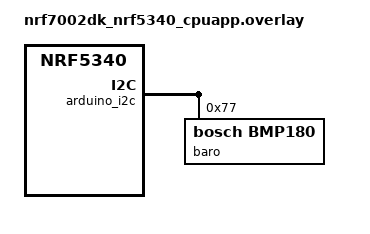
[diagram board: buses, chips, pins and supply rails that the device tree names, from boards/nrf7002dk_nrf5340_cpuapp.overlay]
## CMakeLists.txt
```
# SPDX-FileCopyrightText: 2026 The MCUHome Contributors
# SPDX-License-Identifier: Apache-2.0
#
# MCUHome Matter sample node (ADR 0006 / ADR 0014): upstream CHIP
# v1.5.1.0 as Zephyr module on vanilla Zephyr v4.4.0, nRF7002-DK, two
# runtime-registered endpoints (temperature + pressure, BMP180).
#
# The Matter build glue below — the CHIP_ROOT block, the link-order fix,
# the app-common include and the chip_configure_data_model() call — is
# byte-identical to what `mcuhome build` emits, and tests_py/
# test_generate.py asserts that it stays so. This sample IS a generated
# device (ADR 0014 makes its src/mcuhome_config.{c,h} the codegen
# fixture), so a build mechanism found on the bench must never end up in
# only one of the two files. What legitimately differs is the application
# glue: the sample keeps its own src/main.c, which drives this board's
# LEDs, where a generated application uses the framework's generic main.

cmake_minimum_required(VERSION 3.20.0)

# Matter (CHIP) is a Zephyr module the application registers, not one west
# discovers: upstream connectedhomeip has no zephyr/module.yml at its root,
# only the chip-module subdirectory below. It therefore has to be appended
# to ZEPHYR_EXTRA_MODULES before find_package(Zephyr).
#
# CHIP_ROOT is searched for rather than written out, so this file names no
# path belonging to the machine that generated it and keeps working
# wherever the build tree is moved. What it looks for is the west T2
# workspace layout MCUHome pins (west.yml). Three ways, in order:
#
#   1. -DCHIP_ROOT=... or the CHIP_ROOT environment variable — say it.
#   2. next to ZEPHYR_BASE, when the environment has it. `west build` does
#      NOT export ZEPHYR_BASE, so this is the path for environments that
#      set it deliberately (the MCUHome builder is one).
#   3. upwards from this file, for the normal case of a build directory
#      inside the workspace it is built in.
if(NOT DEFINED CHIP_ROOT)
    if(DEFINED ENV{CHIP_ROOT})
        set(CHIP_ROOT $ENV{CHIP_ROOT})
    elseif(DEFINED ENV{ZEPHYR_BASE})
        get_filename_component(CHIP_ROOT
            "$ENV{ZEPHYR_BASE}/../modules/lib/connectedhomeip" REALPATH)
    else()
        set(_mcuhome_search ${CMAKE_CURRENT_SOURCE_DIR})
        while(NOT DEFINED CHIP_ROOT)
            if(EXISTS "${_mcuhome_search}/modules/lib/connectedhomeip")
                set(CHIP_ROOT "${_mcuhome_search}/modules/lib/connectedhomeip")
            endif()
            get_filename_component(_parent ${_mcuhome_search} DIRECTORY)
            if(_parent STREQUAL _mcuhome_search)
                break()
            endif()
            set(_mcuhome_search ${_parent})
        endwhile()
        unset(_mcuhome_search)
        unset(_parent)
    endif()
endif()

if(NOT EXISTS "${CHIP_ROOT}/config/zephyr/chip-module")
    message(FATAL_ERROR
        "The Matter SDK (connectedhomeip) was not found.\n"
        "Looked for a west workspace containing modules/lib/connectedhomeip, "
        "starting at ${CMAKE_CURRENT_SOURCE_DIR}; CHIP_ROOT resolved to "
        "'${CHIP_ROOT}'.\n"
        "The SDK is in the optional west group `matter`, so a workspace that "
        "was never updated with it has no copy:\n"
        "  west config manifest.group-filter +matter && west update\n"
        "If it lives somewhere else entirely, say so: -DCHIP_ROOT=<path>")
endif()

list(APPEND ZEPHYR_EXTRA_MODULES ${CHIP_ROOT}/config/zephyr/chip-module)

# ccache for the Matter half of the build as well (builder-pipeline.md §5:
# ccache is a hard requirement of the builder, not an optimization).
# Zephyr finds ccache by itself and sets the global RULE_LAUNCH_COMPILE
# property, but CHIP's inner GN build is a second build system that never
# sees it — without the two lines below, every clean build directory
# recompiles the whole Matter stack from source.
#
# Pigweed's toolchain templates take a compiler launcher as the GN
# argument `pw_command_launcher` (third_party/pigweed/repo/pw_toolchain/
# toolchain_args.gni), and CHIP's chip_gn_args.cmake appends to
# MATTER_GN_ARGS instead of resetting it when it is already set. So
# pre-seeding that variable here — before find_package(Zephyr) brings the
# chip-module in — is the whole mechanism, with no patch to the SDK. The
# `\n`-separated form is the response-file syntax make_gn_args.py reads;
# it must not contain a semicolon, which CMake would turn into a list.
#
# USE_CCACHE=0 is Zephyr's own opt-out and switches off both halves.
if(NOT USE_CCACHE STREQUAL "0")
    find_program(MCUHOME_CCACHE ccache)
    if(MCUHOME_CCACHE)
        set(MATTER_GN_ARGS "--arg-string\npw_command_launcher\nccache\n")
    endif()
endif()

find_package(Zephyr REQUIRED HINTS $ENV{ZEPHYR_BASE})
project(mcuhome-matter-node)

include(${CHIP_ROOT}/src/app/chip_data_model.cmake)

# Link-order fix: the Matter libraries form their own --start/end-group,
# placed after libkernel.a in the final link line, so k_msgq_* references
# from libCHIP.a stay unresolved. Appending the kernel as a *file path*
# (not the target — CMake would dedupe that against the earlier
# occurrence) puts it after the group.
target_link_libraries(chip INTERFACE $<TARGET_FILE:kernel>)

target_include_directories(app PRIVATE
    ${CHIP_ROOT}/zzz_generated/app-common)

# Application glue (plain C — no CHIP headers) plus the generated device
# configuration (ADR 0014), which `mcuhome build` produces from
# docs/design/examples/00-bmp180-two-endpoints.yaml and the builder test
# suite compares byte for byte. The Matter runtime itself lives in the
# framework component, not here.
target_sources(app PRIVATE
    src/main.c
    src/mcuhome_config.c)

# Framework-owned data model: endpoint 0 (root node) only — every device
# endpoint is registered at runtime (ADR 0014, native composed node).
# ZCL_PATH must be passed explicitly: the zcl.json path stored inside the
# .zap is relative to CHIP's own example directories, so it cannot resolve
# for a .zap that lives outside the CHIP tree (documented escape hatch in
# chip_data_model.cmake). The .matter IDL is inferred from the .zap name.
chip_configure_data_model(app
    ZAP_FILE ${ZEPHYR_MCUHOME_MODULE_DIR}/components/matter/zap/mcuhome-root.zap
    ZCL_PATH ${CHIP_ROOT}/src/app/zap-templates/zcl/zcl.json
)
```

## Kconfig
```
# SPDX-FileCopyrightText: 2026 The MCUHome Contributors
# SPDX-License-Identifier: Apache-2.0

config MCUHOME_ALLOW_INSECURE_ENTROPY
	bool "I understand this build has NO secure randomness (DEVELOPMENT ONLY)"
	help
	  Explicit opt-in gate for the insecure prototype PRNG. Never set
	  this outside local development: all keys the device generates
	  (commissioning sessions, SRP signatures) become predictable.

config MCUHOME_PROTO_ENTROPY
	bool "Insecure prototype entropy driver (nRF5340 appcore experiment)"
	default y if DT_HAS_MCUHOME_PROTO_ENTROPY_ENABLED
	depends on ENTROPY_GENERATOR
	depends on MCUHOME_ALLOW_INSECURE_ENTROPY
	select ENTROPY_HAS_DRIVER

config MCUHOME_PROTO_PSA_WANTS
	bool
	default y if MBEDTLS
	# The PSA_WANT_* symbols are promptless while MBEDTLS_PROMPTLESS is
	# active — plain prj.conf assignments are silently dropped. An app
	# Kconfig `select` is the supported way to force them on. CHIP needs
	# HKDF (SPAKE2+ key derivation — missing it kills PASE with a silent
	# INTERNAL after the point math), ECDH (CASE), SHA-1 (certificates)
	# and PBKDF2 (PASE prover side).
	select PSA_WANT_ALG_HKDF
	select PSA_WANT_ALG_ECDH
	select PSA_WANT_ALG_SHA_1
	select PSA_WANT_ALG_PBKDF2_HMAC
	select PSA_WANT_KEY_TYPE_DERIVE
	select PSA_WANT_KEY_TYPE_HMAC

source "Kconfig.zephyr"
```

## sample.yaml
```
# SPDX-FileCopyrightText: 2026 The MCUHome Contributors
# SPDX-License-Identifier: Apache-2.0

sample:
  name: MCUHome Matter node sample
  description: >
    Matter node on vanilla Zephyr with two runtime-registered endpoints
    (temperature EP1, pressure EP2, fed by a BMP180), exercising the
    MCUHome generated-tables contract against upstream CHIP.
common:
  tags:
    - matter
    - mcuhome
tests:
  sample.mcuhome.matter_node:
    build_only: true
    # The Matter runtime values (heap/stack sizing, mbedTLS acceleration,
    # picolibc) and the RTT log transport come from the framework snippets,
    # not from prj.conf — twister must apply them like a manual build does.
    extra_args:
      - SNIPPET="matter;debug-rtt"
    # One board, deliberately: src/mcuhome_config.c is generator output for
    # exactly this device configuration, and generated tables reference the
    # sensor's devicetree node directly. A board without that node cannot
    # compile them — and a generated device configuration is never built for
    # a board it was not generated for.
    platform_allow:
      - nrf7002dk/nrf5340/cpuapp
```

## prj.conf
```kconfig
# SPDX-FileCopyrightText: 2026 The MCUHome Contributors
# SPDX-License-Identifier: Apache-2.0
#
# ============================================================================
# BUILD THIS SAMPLE WITH:  -S matter -S debug-rtt
#
#   west build -p -b nrf7002dk/nrf5340/cpuapp -S matter -S debug-rtt \
#       mcuhome/samples/matter-node
#
# The snippets carry the numeric/choice values the Matter stack needs (heap
# and stack sizing, mbedTLS acceleration, libc choice) and the RTT log
# transport. Building WITHOUT them is refused at CMake configure time by
# components/matter/CMakeLists.txt (with BUILD_ASSERTs in
# components/matter/src/matter_init.cpp as the backstop) — without that
# guard the image compiles fine and dies at runtime, pre-main or during
# PASE, with no console to say why.
# ============================================================================

# MCUHome framework: components/matter/Kconfig owns the Matter wiring
# (PSA_WANT_* selects, NET_CONTEXT_RECV_PKTINFO, OPENTHREAD_SLAAC, the
# PICOLIBC dependency and the Thread role choice), so none of that is
# repeated here.
CONFIG_MCUHOME=y
CONFIG_MCUHOME_MATTER=y

# The health foundation (lib/health/: reboot on fatal error, hardware
# watchdog, crash breadcrumb, image self-confirmation). Stated rather than
# left to the Kconfig defaults, for the same reason the generated
# prj.conf states it (mcuhome/generate.py): ADR 0015's health amendment
# makes these mandatory for every application image, and a guarantee that
# rests on an unstated default is one board defconfig away from silently
# disappearing. The watchdog needs the watchdog0 alias, which the board
# overlay next to this file adds.
CONFIG_MCUHOME_HEALTH=y
CONFIG_MCUHOME_RESET_ON_FATAL_ERROR=y
CONFIG_MCUHOME_WATCHDOG=y
CONFIG_MCUHOME_CRASH_BREADCRUMB=y
#
# Matter OTA is deliberately NOT enabled. This sample is built as a single
# image without MCUboot, so it has no partition table and no staging slot
# to download into; enabling CONFIG_MCUHOME_MATTER_OTA here would fail the
# build on a missing slot1_partition, correctly. Over-the-air update is a
# property of the board's update scheme in mcuhome/registry.py and appears
# in applications the builder generates (ADR 0015 decision 5), which are
# sysbuild builds with a bootloader.

# Channel layer: the generic sensor adapter that feeds both endpoints.
# The chip driver itself is not enabled here — CONFIG_BMP180 defaults to y
# from the devicetree node in the board overlay, which is the rule the
# builder will follow too (hardware in DTS, never in Kconfig).
CONFIG_SENSOR=y
CONFIG_MCUHOME_SENSOR=y

CONFIG_CHIP=y
CONFIG_STD_CPP17=y

# Test vendor/product identity (Matter test VID space)
CONFIG_CHIP_DEVICE_PRODUCT_ID=32768

# Open the commissioning window automatically on boot
CONFIG_CHIP_ENABLE_PAIRING_AUTOSTART=y

# Thread
CONFIG_NET_L2_OPENTHREAD=y

# Crypto: mbedTLS 4 provides the PSA API (tf-psa-crypto core)
CONFIG_MBEDTLS=y
CONFIG_MBEDTLS_PSA_CRYPTO_C=y

# Project config: dynamic endpoint slots (see include/CHIPProjectConfig.h)
CONFIG_CHIP_PROJECT_CONFIG="include/CHIPProjectConfig.h"
```

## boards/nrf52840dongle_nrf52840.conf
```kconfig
# SPDX-FileCopyrightText: 2026 The MCUHome Contributors
# SPDX-License-Identifier: Apache-2.0
#
# Dongle (nRF52840): Thread-only per ADR 0011 (BLE off in v0.1).
# No console — the CDC-ACM console blocks printk without an attached
# host terminal (upstream bug candidate Z5); status via LEDs.

CONFIG_BT=n

CONFIG_CONSOLE=n
CONFIG_UART_CONSOLE=n
# NOTE: the debug-rtt snippet (applied by sample.yaml and the documented
# build command) merges after board files and turns logging back on, over
# RTT instead of CDC-ACM. Build without `-S debug-rtt` to get the silent
# LED-only image this line describes.
CONFIG_LOG=n
```

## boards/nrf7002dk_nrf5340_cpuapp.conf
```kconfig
# SPDX-FileCopyrightText: 2026 The MCUHome Contributors
# SPDX-License-Identifier: Apache-2.0
#
# nRF7002-DK (nRF5340 app core), Thread-only coexistence experiment:
# BLE deliberately OFF — vanilla Zephyr has no combined BLE+802.15.4
# netcore image (no MPSL); the net core runs 802154_rpmsg.
#
# The RTT log transport and the nRF53 802.15.4 workqueue sizing are NOT
# here: they come from the snippets this sample is built with
# (`-S debug-rtt` and `-S matter`, see prj.conf). Only board-scoped
# decisions remain below.
#
# (The interactive shell-over-RTT was dropped: under OpenThread log load
# its RX event delivery wedges — the thread never leaves k_event_wait
# despite the raised transport event. The Thread dataset is persisted in
# flash, so runtime CLI access is no longer needed for the E2E test.)

CONFIG_BT=n

# Entropy: the app core has no RNG peripheral, so it seeds a CTR-DRBG
# from the network core's over IPC (drivers/entropy/, board overlay picks
# the node). CONFIG_MCUHOME_ENTROPY_IPC follows from the devicetree node
# — hardware in DTS, never in Kconfig — and the driver pulls in
# CONFIG_MBEDTLS_CTR_DRBG_C itself. Only the subsystem switch is needed
# here.
#
# The network core must run mcuhome/samples/netcore-radio: the upstream
# 802154_rpmsg image has the radio server but not the entropy service,
# and a node built against it never gets seeded (loud -EIO, no silent
# downgrade — see snippets/matter/matter.conf).
CONFIG_ENTROPY_GENERATOR=y
```

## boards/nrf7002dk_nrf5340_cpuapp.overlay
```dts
/*
 * SPDX-FileCopyrightText: 2026 The MCUHome Contributors
 * SPDX-License-Identifier: Apache-2.0
 */

/* Entropy: the nRF5340 application core has no RNG peripheral. The board
 * default points `zephyr,entropy` at the Bluetooth HCI entropy driver
 * (`&rng_hci`, see dts/arm/nordic/nrf5340_cpuapp.dtsi), which is dead
 * weight here — this node is Thread-only and Bluetooth is off (ADR
 * 0011). Redirect to the IPC driver, which seeds a CTR-DRBG from the
 * network core's real RNG over a second endpoint on `ipc0` — the same
 * instance the 802.15.4 spinel channel already uses. The network core
 * must run mcuhome/samples/netcore-radio for this to bind.
 */
/ {
	netcore_entropy: netcore-entropy {
		compatible = "mcuhome,entropy-ipc";
		ipc = <&ipc0>;
		status = "okay";
	};

	chosen {
		zephyr,entropy = &netcore_entropy;
	};

	/* Watchdog: ADR 0015's health amendment makes one mandatory for every
	 * application image, and lib/health/ finds it through the watchdog0
	 * alias — the Zephyr convention, which this board's own devicetree
	 * does not define even though the SoC has the peripheral. Board
	 * wiring, exactly like the entropy redirection above, and exactly
	 * what mcuhome/registry.py emits into a generated application's
	 * overlay. Without it the build stops and names the alias.
	 */
	aliases {
		watchdog0 = &wdt0;
	};
};

/* Bosch BMP180 on the DK's Arduino-header I2C bus.
 *
 * The node label is `baro`, not `bmp180`, because that is the peripheral's
 * name in the device configuration this sample mirrors
 * (docs/design/examples/00-bmp180-two-endpoints.yaml, hardware.peripherals)
 * and therefore the label the generated tables reference. This block is
 * exactly what the builder's overlay generator emits; the entropy node
 * above is board wiring the generator does not own.
 *
 * `arduino_i2c` is the board's own label for i2c1
 * (zephyr/boards/nordic/nrf7002dk/nrf5340_cpuapp_common.dtsi); the
 * i2c1_default pinctrl group puts TWIM_SDA on P1.02 and TWIM_SCL on P1.03,
 * which the board's arduino_header gpio-map exposes as D14 and D15 — the
 * dedicated SDA/SCL pins of the Arduino UNO R3 shield header. A4/A5 are
 * NOT on this bus on the nRF7002-DK: they map to P0.25/P0.26 and are plain
 * GPIO/ADC inputs. The physical wiring is spelled out in the sample README.
 *
 * The BMP180's I2C address is fixed at 0x77 in silicon — the chip has no
 * address-select pin, so this is the only possible reg value.
 *
 * osr-press = 1 ("standard", 2 samples, ~7.5 ms conversion). The datasheet
 * quotes ~0.06 hPa RMS noise even in ultra-low-power mode, an order of
 * magnitude below this endpoint's 1 hPa quantization, so the higher
 * oversampling modes would buy resolution the Matter attribute cannot
 * carry and pay for it in conversion time — which on a sleepy end device
 * is radio-off time spent awake.
 */
&arduino_i2c {
	status = "okay";

	baro: baro@77 {
		compatible = "bosch,bmp180";
		reg = <0x77>;
		osr-press = <1>;
		status = "okay";
	};
};
```

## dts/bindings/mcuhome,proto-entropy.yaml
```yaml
# SPDX-FileCopyrightText: 2026 The MCUHome Contributors
# SPDX-License-Identifier: Apache-2.0

description: |
  INSECURE prototype entropy source (PRNG, not a TRNG). Exists only to
  unblock the Matter-on-vanilla-Zephyr boot experiment on the nRF5340
  application core, which has no upstream entropy driver.

compatible: "mcuhome,proto-entropy"

include: base.yaml
```

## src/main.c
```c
/*
 * SPDX-FileCopyrightText: 2026 The MCUHome Contributors
 * SPDX-License-Identifier: Apache-2.0
 *
 * MCUHome Matter sample node: application glue, and nothing else.
 *
 * Note what is NOT here: no CHIP header, no ember macro, no external
 * attribute callback, no stack lock, no value-producing loop — and, since
 * the builder generates this device's configuration, no tables either. The
 * device's Matter model and its sensor wiring are data
 * (src/mcuhome_config.c, generated from
 * docs/design/examples/00-bmp180-two-endpoints.yaml), the runtime is the
 * framework (components/matter, components/sensor). What remains below is
 * the LED status this board needs because it has no attached console, plus
 * three calls.
 *
 * Everything after mcuhome_matter_start() is event-driven — the sensor
 * poller owns its own workqueue, the heartbeat is a kernel timer — so
 * main() has nothing left to do and returns.
 */

#include <zephyr/devicetree.h>
#include <zephyr/drivers/gpio.h>
#include <zephyr/kernel.h>

#include <mcuhome/channel.h>
#include <mcuhome/matter.h>

#include "mcuhome_config.h"

/* LED status — the RTT log is not always attached, and a board without a
 * console has nothing else: green solid = initializing, green slow blink =
 * fully up, red pulse = stage boundary, red fast blink = a stage failed. */
static const struct gpio_dt_spec led_green = GPIO_DT_SPEC_GET(DT_ALIAS(led0), gpios);
static const struct gpio_dt_spec led_red = GPIO_DT_SPEC_GET(DT_ALIAS(led1), gpios);

/* Heartbeat. A kernel timer rather than a loop in main(): toggling a GPIO
 * is a single register write and safe from the timer ISR, and it keeps the
 * "nothing polls anything from a thread" property this file has. */
static void heartbeat_expiry(struct k_timer *timer)
{
	ARG_UNUSED(timer);
	gpio_pin_toggle_dt(&led_green);
}

static K_TIMER_DEFINE(heartbeat, heartbeat_expiry, NULL);

/* Override of the framework's weak default hook. Kept from the bring-up
 * era: it is the only diagnostic a board without a console has. */
void mcuhome_matter_stage(const char *name, int err)
{
	if (err == 0) {
		printk("mcuhome: stage %s OK\n", name);
		gpio_pin_set_dt(&led_red, 1);
		k_sleep(K_MSEC(80));
		gpio_pin_set_dt(&led_red, 0);
		return;
	}

	printk("mcuhome: stage %s FAILED (%d)\n", name, err);
	for (int i = 0; i < 10; i++) {
		gpio_pin_toggle_dt(&led_red);
		k_sleep(K_MSEC(100));
	}
	gpio_pin_set_dt(&led_red, 0);
}

int main(void)
{
	int err;

	gpio_pin_configure_dt(&led_green, GPIO_OUTPUT_INACTIVE);
	gpio_pin_configure_dt(&led_red, GPIO_OUTPUT_INACTIVE);
	gpio_pin_set_dt(&led_green, 1); /* solid green: initializing */

	printk("mcuhome: boot, matter-node sample\n");

	err = mcuhome_matter_start(&mcuhome_node_config);
	if (err != 0) {
		printk("mcuhome: Matter bring-up failed: %d\n", err);
		return err;
	}

	/* After Matter, never before: the first sample may publish
	 * immediately and the reporting path has to exist by then. */
	err = mcuhome_sensor_start(mcuhome_sensor_bindings, mcuhome_sensor_binding_count);
	mcuhome_matter_stage("SensorStart", err);
	if (err != 0) {
		/* A malformed binding table or a binding/table ID mismatch
		 * (mcuhome_matter_attr_store_lookup(), <mcuhome/channel.h>) —
		 * not a missing sensor, which the poller handles internally
		 * and reports as null. Visible (LED + log) but not fatal: the
		 * node must stay commissionable even with broken sensor
		 * wiring, so its endpoints simply keep reporting null. */
		printk("mcuhome: sensor channels failed to start: %d\n", err);
	}

	k_timer_start(&heartbeat, K_SECONDS(1), K_SECONDS(1)); /* slow blink: fully up */

	printk("mcuhome: up - endpoints 1 (temperature) and 2 (pressure) live\n");

	return 0;
}
```

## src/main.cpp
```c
/*
 * SPDX-FileCopyrightText: 2026 The MCUHome Contributors
 * SPDX-License-Identifier: Apache-2.0
 *
 * MCUHome Matter sample node: minimal Matter node on vanilla Zephyr with ONE
 * dynamically registered temperature endpoint fed from a simulated sensor.
 * Evaluates the dynamic-endpoint path (builder-pipeline design §4) with
 * upstream CHIP on nRF7002-DK.
 */

#include <zephyr/drivers/gpio.h>
#include <zephyr/kernel.h>

#include <app-common/zap-generated/ids/Attributes.h>
#include <app-common/zap-generated/ids/Clusters.h>
#include <app/reporting/reporting.h>
#include <app/server/Dnssd.h>
#include <app/server/Server.h>
#include <app/util/attribute-storage.h>
#include <credentials/DeviceAttestationCredsProvider.h>
#include <credentials/examples/DeviceAttestationCredsExample.h>
#include <data-model-providers/codegen/Instance.h>
#include <lib/core/CHIPError.h>
#include <lib/support/CHIPMem.h>
#include <lib/support/Span.h>
#include <platform/CHIPDeviceLayer.h>

using namespace chip;
using namespace chip::app;
using namespace chip::app::Clusters;
using chip::Protocols::InteractionModel::Status;

/* MCUHome devices are native composed nodes, not bridges (ADR 0014): the
 * framework ZAP (components/matter/zap/mcuhome-root.zap) defines endpoint 0
 * — the root node — and nothing else. Every application endpoint is created
 * at runtime with emberAfSetDynamicEndpoint(), starting at EP1 directly
 * under the root; there is no static aggregator endpoint.
 *
 * A statically compiled endpoint would collide with the IDs the dynamic
 * allocator hands out and show up to controllers as a device the user never
 * configured. Fail the build, not the commissioning, if the ZAP ever grows
 * one. (FIXED_ENDPOINT_COUNT comes from the generated
 * zap-generated/endpoint_config.h, pulled in by app/util/attribute-storage.h
 * above — no fragile include path needed.) */
static_assert(FIXED_ENDPOINT_COUNT == 1,
              "The MCUHome framework ZAP must define endpoint 0 only — "
              "static endpoints collide with dynamically registered ones");

namespace {

constexpr int kDescriptorAttributeArraySize = 254;
constexpr uint16_t kTempSensorDeviceTypeId  = 0x0302; /* Matter Temperature Sensor */
constexpr uint8_t kDeviceVersionDefault     = 1;
/* EP0 (root node) is the only static endpoint; EP1 is the first dynamic one. */
constexpr EndpointId kTempEndpointId = 1;

int16_t gSimulatedTempCentiC = 2150; /* 21.50 °C, Matter unit: 0.01 °C */

/* LED status (dongle has no visible console): green solid = initializing,
 * red fast blink = a stage failed, green slow blink = fully up. */
const gpio_dt_spec gLedGreen = GPIO_DT_SPEC_GET(DT_ALIAS(led0), gpios);
const gpio_dt_spec gLedRed   = GPIO_DT_SPEC_GET(DT_ALIAS(led1), gpios);

/* --- Temperature Measurement cluster attributes (external storage) --- */
DECLARE_DYNAMIC_ATTRIBUTE_LIST_BEGIN(tempAttrs)
DECLARE_DYNAMIC_ATTRIBUTE(TemperatureMeasurement::Attributes::MeasuredValue::Id, INT16S, 2, 0),
    DECLARE_DYNAMIC_ATTRIBUTE(TemperatureMeasurement::Attributes::MinMeasuredValue::Id, INT16S, 2, 0),
    DECLARE_DYNAMIC_ATTRIBUTE(TemperatureMeasurement::Attributes::MaxMeasuredValue::Id, INT16S, 2, 0),
    DECLARE_DYNAMIC_ATTRIBUTE_LIST_END();

/* --- Descriptor cluster attributes --- */
DECLARE_DYNAMIC_ATTRIBUTE_LIST_BEGIN(descriptorAttrs)
DECLARE_DYNAMIC_ATTRIBUTE(Descriptor::Attributes::DeviceTypeList::Id, ARRAY, kDescriptorAttributeArraySize, 0),
    DECLARE_DYNAMIC_ATTRIBUTE(Descriptor::Attributes::ServerList::Id, ARRAY, kDescriptorAttributeArraySize, 0),
    DECLARE_DYNAMIC_ATTRIBUTE(Descriptor::Attributes::ClientList::Id, ARRAY, kDescriptorAttributeArraySize, 0),
    DECLARE_DYNAMIC_ATTRIBUTE(Descriptor::Attributes::PartsList::Id, ARRAY, kDescriptorAttributeArraySize, 0),
    DECLARE_DYNAMIC_ATTRIBUTE_LIST_END();

DECLARE_DYNAMIC_CLUSTER_LIST_BEGIN(tempSensorClusters)
DECLARE_DYNAMIC_CLUSTER(TemperatureMeasurement::Id, tempAttrs, ZAP_CLUSTER_MASK(SERVER), nullptr, nullptr),
    DECLARE_DYNAMIC_CLUSTER(Descriptor::Id, descriptorAttrs, ZAP_CLUSTER_MASK(SERVER), nullptr, nullptr)
        DECLARE_DYNAMIC_CLUSTER_LIST_END;

DECLARE_DYNAMIC_ENDPOINT(tempSensorEndpoint, tempSensorClusters);

DataVersion gTempDataVersions[MATTER_ARRAY_SIZE(tempSensorClusters)];

const EmberAfDeviceType gTempDeviceTypes[] = { { kTempSensorDeviceTypeId, kDeviceVersionDefault } };

} /* namespace */

/* Read handler for externally stored dynamic attributes. */
Status emberAfExternalAttributeReadCallback(EndpointId endpoint, ClusterId clusterId,
                                            const EmberAfAttributeMetadata * attributeMetadata, uint8_t * buffer,
                                            uint16_t maxReadLength)
{
    if (endpoint == kTempEndpointId && clusterId == TemperatureMeasurement::Id && maxReadLength >= 2)
    {
        int16_t value = 0;
        switch (attributeMetadata->attributeId)
        {
        case TemperatureMeasurement::Attributes::MeasuredValue::Id:
            value = gSimulatedTempCentiC;
            break;
        case TemperatureMeasurement::Attributes::MinMeasuredValue::Id:
            value = -4000;
            break;
        case TemperatureMeasurement::Attributes::MaxMeasuredValue::Id:
            value = 12500;
            break;
        default:
            return Status::Failure;
        }
        memcpy(buffer, &value, sizeof(value));
        return Status::Success;
    }
    return Status::Failure;
}

Status emberAfExternalAttributeWriteCallback(EndpointId endpoint, ClusterId clusterId,
                                             const EmberAfAttributeMetadata * attributeMetadata, uint8_t * buffer)
{
    return Status::Failure; /* sensor is read-only */
}

/* Diagnostic bring-up: log every stage, never halt — a panic would also
 * kill the USB console that is supposed to show us the failure. Before
 * each stage the red LED blinks the stage number, so a hang is readable
 * from the LED alone (no console needed). */
int gStageNo = 0;

void blink_stage_number(void)
{
    /* Bring-up phase used stage-counting blinks (~70 s total boot cost);
     * now that the stages are stable, a single short pulse suffices —
     * the failure path below still blinks distinctly. */
    ++gStageNo;
    gpio_pin_set_dt(&gLedRed, 1);
    k_sleep(K_MSEC(80));
    gpio_pin_set_dt(&gLedRed, 0);
}

#define STAGE(name, expr)                                                                                                          \
    do                                                                                                                             \
    {                                                                                                                              \
        blink_stage_number();                                                                                                      \
        printk("mcuhome-proto: %s...\n", name);                                                                                   \
        CHIP_ERROR _e;                                                                                                             \
        while ((_e = (expr)) != CHIP_NO_ERROR)                                                                                     \
        {                                                                                                                          \
            /* Retry forever: gives an attached debugger unlimited          \
             * reproduction windows without any reset dance. */             \
            printk("mcuhome-proto: %s FAILED: %" CHIP_ERROR_FORMAT " — retrying in 15 s\n", name, _e.Format());                   \
            for (int _i = 0; _i < 30; _i++)                                                                                        \
            {                                                                                                                      \
                gpio_pin_toggle_dt(&gLedRed);                                                                                      \
                k_sleep(K_MSEC(500));                                                                                              \
            }                                                                                                                      \
        }                                                                                                                          \
        gpio_pin_set_dt(&gLedRed, 0); /* stage done */                                                                             \
        printk("mcuhome-proto: %s OK\n", name);                                                                                   \
    } while (0)

int main(void)
{
    gpio_pin_configure_dt(&gLedGreen, GPIO_OUTPUT_INACTIVE);
    gpio_pin_configure_dt(&gLedRed, GPIO_OUTPUT_INACTIVE);
    gpio_pin_set_dt(&gLedGreen, 1); /* solid green: initializing */

    printk("mcuhome-proto: boot, image a2-composed-node\n");

    STAGE("MemoryInit", chip::Platform::MemoryInit());
    STAGE("InitChipStack", chip::DeviceLayer::PlatformMgr().InitChipStack());

    /* Attach CHIP's ThreadStackManager to the (Zephyr-L2-started) OpenThread
     * instance. Without this, Thread still runs — Zephyr starts it on its
     * own — but every CHIP feature needing the OT instance fails quietly;
     * the SRP hostname build then aborts DNS-SD advertising with NOT_FOUND
     * and the node is never discoverable for on-network commissioning. */
    STAGE("InitThreadStack", chip::DeviceLayer::ThreadStackMgr().InitThreadStack());
    STAGE("SetThreadDeviceType",
          chip::DeviceLayer::ConnectivityMgr().SetThreadDeviceType(
              chip::DeviceLayer::ConnectivityManager::kThreadDeviceType_Router));

    static chip::CommonCaseDeviceServerInitParams initParams;
    STAGE("InitStaticResources", initParams.InitializeStaticResourcesBeforeServerInit());
    initParams.dataModelProvider = chip::app::CodegenDataModelProviderInstance(initParams.persistentStorageDelegate);
    chip::Credentials::SetDeviceAttestationCredentialsProvider(chip::Credentials::Examples::GetExampleDACProvider());
    STAGE("ServerInit", chip::Server::GetInstance().Init(initParams));

    /* Register the dynamic temperature endpoint — this is the mechanism the
     * MCUHome builder will drive from generated config tables. */
    {
        chip::DeviceLayer::StackLock lock;
        STAGE("SetDynamicEndpoint", emberAfSetDynamicEndpoint(0, kTempEndpointId, &tempSensorEndpoint,
                                                               Span<DataVersion>(gTempDataVersions),
                                                               Span<const EmberAfDeviceType>(gTempDeviceTypes),
                                                               0 /* parent: root node */));
    }

    STAGE("StartEventLoop", chip::DeviceLayer::PlatformMgr().StartEventLoopTask());
    printk("mcuhome-proto: up — temperature endpoint %d live, simulating values\n", kTempEndpointId);

    /* Upstream gap (candidate C7): on the OpenThread platform nothing ever
     * posts kDnssdInitialized/kDnssdRestartNeeded, so a commissionable-node
     * advertisement that fails at ServerInit (SRP server not yet in the
     * Thread network data — normal with a pre-provisioned dataset) is never
     * retried and the node stays undiscoverable. Re-run StartServer()
     * periodically for the first ~5 minutes; re-registration is idempotent. */
    int dnssdRetries = 10;

    /* Simulated sensor: drift the value and trigger Matter reporting. */
    while (true)
    {
        if (dnssdRetries > 0)
        {
            dnssdRetries--;
            chip::DeviceLayer::PlatformMgr().ScheduleWork(
                [](intptr_t) { chip::app::DnssdServer::Instance().StartServer(); }, 0);
        }
        for (int i = 0; i < 30; i++)
        {
            gpio_pin_toggle_dt(&gLedGreen); /* slow green blink: fully up */
            k_sleep(K_SECONDS(1));
        }
        gSimulatedTempCentiC = static_cast<int16_t>(gSimulatedTempCentiC + 25);
        if (gSimulatedTempCentiC > 2600)
        {
            gSimulatedTempCentiC = 2000;
        }
        MatterReportingAttributeChangeCallback(kTempEndpointId, TemperatureMeasurement::Id,
                                               TemperatureMeasurement::Attributes::MeasuredValue::Id);
        printk("mcuhome-proto: alive, simulated temp %d.%02d C\n", gSimulatedTempCentiC / 100,
               gSimulatedTempCentiC % 100);
    }
    return 0;
}
```

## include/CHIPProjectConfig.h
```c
/*
 * SPDX-FileCopyrightText: 2026 The MCUHome Contributors
 * SPDX-License-Identifier: Apache-2.0
 *
 * CHIP's project configuration is framework-owned (values and rationale
 * live in include/mcuhome/matter/chip_project_config.h). This wrapper
 * exists only because CONFIG_CHIP_PROJECT_CONFIG is resolved relative to
 * the application source directory, so every Matter application — this
 * sample today, generated firmware tomorrow — needs one file at a
 * predictable app-relative path.
 */

#pragma once

#include <mcuhome/matter/chip_project_config.h>
```

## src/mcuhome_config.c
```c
/*
 * SPDX-FileCopyrightText: 2026 The MCUHome Contributors
 * SPDX-License-Identifier: Apache-2.0
 *
 * Generated by mcuhome from 00-bmp180-two-endpoints.yaml — do not edit.
 *
 * Device "bmp180-node" (BMP180 Two-Endpoint Node) for nrf7002dk/nrf5340/cpuapp.
 *
 * The Matter data model of this device as plain-C tables (ADR 0014, <mcuhome/matter_tables.h>),
 * plus the sensor bindings that feed them (<mcuhome/channel.h>). Dumb, reviewable, diffable data:
 * one node symbol, zero CHIP includes, zero logic. All behavior lives in the framework, which
 * interprets what is below.
 *
 * The Descriptor cluster and the global attributes FeatureMap (0xFFFC) and ClusterRevision (0xFFFD)
 * are deliberately absent: the framework appends the first and serves the other two from the
 * cluster fields below.
 *
 * An attribute with store == NULL is a constant: the framework always serves its def value and a
 * controller can never write it. That is how fixed cluster metadata such as MinMeasuredValue /
 * MaxMeasuredValue is expressed without spending RAM on it. Their values state the sensor's own
 * operating range, which a controller uses to size gauges and to sanity-check readings.
 *
 * REVISION SOURCING. Every cluster and device-type revision below comes from CHIP's own
 * implementation data model — cluster revisions from the per-cluster XML under
 * src/app/zap-templates/zcl/data-model/chip, device-type revisions from the matter-devices.xml next
 * to it — because that is what CHIP-based nodes report in the field. The specification scrape
 * shipped alongside it runs ahead of those numbers; they are what a future SDK release grows into,
 * not what its code implements today.
 */

#include <zephyr/sys/util.h>

#include <mcuhome/channel.h>
#include <mcuhome/matter_tables.h>

#include "mcuhome_config.h"

/* RAM cells behind the value-carrying attributes. A cell belongs to whoever produces the value —
 * the channel layer publishes into it, the tables below only point at it. */
static struct mcuhome_attr_store ep1_temperature_measurement_measured_value;
static struct mcuhome_attr_store ep2_pressure_measurement_measured_value;

/* --- endpoint 1 "temperature": temperature_sensor --------------------- */

static const struct mcuhome_matter_attr ep1_temperature_measurement_attrs[] = {
	{
		/* measured_value: nullable per the Matter specification — until a value has been
		 * published this attribute reports null, not a plausible 0.00 °C. */
		.id = 0x0000,
		.type = MCUHOME_ATTR_TYPE_INT16S,
		.size = 2,
		.flags = MCUHOME_ATTR_F_NULLABLE,
		.store = &ep1_temperature_measurement_measured_value,
		.def = 0,
	},
	{
		/* min_measured_value: constant (store == NULL), -40.00 °C. */
		.id = 0x0001,
		.type = MCUHOME_ATTR_TYPE_INT16S,
		.size = 2,
		.flags = 0,
		.store = NULL,
		.def = -4000,
	},
	{
		/* max_measured_value: constant (store == NULL), 85.00 °C. */
		.id = 0x0002,
		.type = MCUHOME_ATTR_TYPE_INT16S,
		.size = 2,
		.flags = 0,
		.store = NULL,
		.def = 8500,
	},
};

static const struct mcuhome_matter_cluster ep1_clusters[] = {
	{
		.id = 0x0402, /* temperature_measurement */
		.feature_map = 0x00000000,
		/* ClusterRevision 4 — see the revision-sourcing note at the top of this file. */
		.cluster_revision = 4,
		.attrs = ep1_temperature_measurement_attrs,
		.attr_count = ARRAY_SIZE(ep1_temperature_measurement_attrs),
	},
};

static const struct mcuhome_matter_device_type ep1_device_types[] = {
	{
		.id = 0x0302, /* temperature_sensor */
		.revision = 3,
	},
};

/* --- endpoint 2 "pressure": pressure_sensor --------------------------- */

static const struct mcuhome_matter_attr ep2_pressure_measurement_attrs[] = {
	{
		/* measured_value: nullable per the Matter specification — until a value has been
		 * published this attribute reports null, not a plausible 0 hPa. */
		.id = 0x0000,
		.type = MCUHOME_ATTR_TYPE_INT16S,
		.size = 2,
		.flags = MCUHOME_ATTR_F_NULLABLE,
		.store = &ep2_pressure_measurement_measured_value,
		.def = 0,
	},
	{
		/* min_measured_value: constant (store == NULL), 300 hPa. */
		.id = 0x0001,
		.type = MCUHOME_ATTR_TYPE_INT16S,
		.size = 2,
		.flags = 0,
		.store = NULL,
		.def = 300,
	},
	{
		/* max_measured_value: constant (store == NULL), 1100 hPa. */
		.id = 0x0002,
		.type = MCUHOME_ATTR_TYPE_INT16S,
		.size = 2,
		.flags = 0,
		.store = NULL,
		.def = 1100,
	},
};

static const struct mcuhome_matter_cluster ep2_clusters[] = {
	{
		.id = 0x0403, /* pressure_measurement */
		.feature_map = 0x00000000,
		/* ClusterRevision 3 — see the revision-sourcing note at the top of this file. */
		.cluster_revision = 3,
		.attrs = ep2_pressure_measurement_attrs,
		.attr_count = ARRAY_SIZE(ep2_pressure_measurement_attrs),
	},
};

static const struct mcuhome_matter_device_type ep2_device_types[] = {
	{
		.id = 0x0305, /* pressure_sensor */
		.revision = 2,
	},
};

/* --- the node --------------------------------------------------------- */

static const struct mcuhome_matter_endpoint endpoints[] = {
	{
		.endpoint_id = 1,
		.parent_id = 0, /* directly under the root node */
		.device_types = ep1_device_types,
		.device_type_count = ARRAY_SIZE(ep1_device_types),
		.clusters = ep1_clusters,
		.cluster_count = ARRAY_SIZE(ep1_clusters),
	},
	{
		.endpoint_id = 2,
		.parent_id = 0, /* directly under the root node */
		.device_types = ep2_device_types,
		.device_type_count = ARRAY_SIZE(ep2_device_types),
		.clusters = ep2_clusters,
		.cluster_count = ARRAY_SIZE(ep2_clusters),
	},
};

const struct mcuhome_matter_node mcuhome_node_config = {
	.tables_version = MCUHOME_MATTER_TABLES_VERSION,
	.endpoints = endpoints,
	.endpoint_count = ARRAY_SIZE(endpoints),
};

/* --- channels: sensor readings bound to attributes -------------------- */

/* Everything in a channel is in the attribute's own raw unit, never the sensor's; the binding below
 * holds the integer scale between the two. A converted sample is published when it differs from the
 * last published one by at least report_delta. */

static const struct mcuhome_channel ep1_temperature_measurement_channel = {
	.store = &ep1_temperature_measurement_measured_value,
	.type = MCUHOME_ATTR_TYPE_INT16S,
	.endpoint_id = 1,
	.cluster_id = 0x0402,
	.attr_id = 0x0000,
	.sample_period_ms = 10000,
	/* 0.10 °C in the attribute's raw units. */
	.report_delta = 10,
};

static const struct mcuhome_channel ep2_pressure_measurement_channel = {
	.store = &ep2_pressure_measurement_measured_value,
	.type = MCUHOME_ATTR_TYPE_INT16S,
	.endpoint_id = 2,
	.cluster_id = 0x0403,
	.attr_id = 0x0000,
	.sample_period_ms = 10000,
	/* 1 hPa in the attribute's raw units. */
	.report_delta = 1,
};

/* Bindings that share a device and fall due in the same cycle fetch once, not once each — which is
 * what makes a multi-quantity chip cost one conversion per cycle instead of one per reading. */
const struct mcuhome_sensor_binding mcuhome_sensor_bindings[] = {
	{
		.dev = DEVICE_DT_GET(DT_NODELABEL(baro)),
		.fetch_channel = SENSOR_CHAN_ALL,
		.zephyr_channel = SENSOR_CHAN_DIE_TEMP,
		/* Zephyr's sensor unit -> the attribute's raw unit. */
		.scale_num = 100,
		.scale_den = 1,
		.offset = 0,
		.channel = &ep1_temperature_measurement_channel,
	},
	{
		.dev = DEVICE_DT_GET(DT_NODELABEL(baro)),
		.fetch_channel = SENSOR_CHAN_ALL,
		.zephyr_channel = SENSOR_CHAN_PRESS,
		/* Zephyr's sensor unit -> the attribute's raw unit. */
		.scale_num = 10,
		.scale_den = 1,
		.offset = 0,
		.channel = &ep2_pressure_measurement_channel,
	},
};

const size_t mcuhome_sensor_binding_count = ARRAY_SIZE(mcuhome_sensor_bindings);
```

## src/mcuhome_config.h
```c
/*
 * SPDX-FileCopyrightText: 2026 The MCUHome Contributors
 * SPDX-License-Identifier: Apache-2.0
 *
 * Generated by mcuhome from 00-bmp180-two-endpoints.yaml — do not edit.
 *
 * Declarations of this device's generated configuration. The application glue includes this header
 * and hands the symbols below to the framework; it never defines them itself.
 */

#ifndef MCUHOME_CONFIG_H_
#define MCUHOME_CONFIG_H_

#include <stddef.h>

#include <mcuhome/channel.h>
#include <mcuhome/matter_tables.h>

#ifdef __cplusplus
extern "C" {
#endif

/** This device's name, as its configuration spells it. */
#define MCUHOME_DEVICE_NAME "bmp180-node"

/** This device's Matter data model: endpoints, clusters, attributes. */
extern const struct mcuhome_matter_node mcuhome_node_config;

/** Sensor readings bound to the attribute store cells of the model above. */
extern const struct mcuhome_sensor_binding mcuhome_sensor_bindings[];
/** Number of entries in mcuhome_sensor_bindings. */
extern const size_t mcuhome_sensor_binding_count;

#ifdef __cplusplus
}
#endif

#endif /* MCUHOME_CONFIG_H_ */
```

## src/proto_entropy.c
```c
/*
 * SPDX-FileCopyrightText: 2026 The MCUHome Contributors
 * SPDX-License-Identifier: Apache-2.0
 *
 * INSECURE prototype entropy driver (xoshiro128**-based PRNG).
 *
 * The nRF5340 application core has no TRNG peripheral (the RNG lives on
 * the network core; production designs use the CryptoCell via PSA or
 * entropy forwarding). Upstream Zephyr offers neither, so this driver
 * exists purely to let the Matter boot experiment proceed. It is NOT
 * cryptographically secure and must never ship in real firmware.
 */

#define DT_DRV_COMPAT mcuhome_proto_entropy

#include <zephyr/device.h>
#include <zephyr/drivers/entropy.h>
#include <zephyr/kernel.h>
#include <zephyr/sys/printk.h>

static uint32_t s[4];

static inline uint32_t rotl(const uint32_t x, int k)
{
	return (x << k) | (x >> (32 - k));
}

static uint32_t next(void)
{
	const uint32_t result = rotl(s[1] * 5, 7) * 9;
	const uint32_t t = s[1] << 9;

	s[2] ^= s[0];
	s[3] ^= s[1];
	s[1] ^= s[2];
	s[0] ^= s[3];
	s[2] ^= t;
	s[3] = rotl(s[3], 11);
	return result;
}

static int proto_entropy_get(const struct device *dev, uint8_t *buffer, uint16_t length)
{
	ARG_UNUSED(dev);
	while (length > 0) {
		uint32_t r = next();
		size_t n = MIN(length, sizeof(r));

		memcpy(buffer, &r, n);
		buffer += n;
		length -= n;
	}
	return 0;
}

static int proto_entropy_init(const struct device *dev)
{
	ARG_UNUSED(dev);
	/* Weak seed: cycle counter, uptime and stack address. */
	uint32_t marker = 0;

	s[0] = k_cycle_get_32() ^ 0xdeadbeef;
	s[1] = (uint32_t)(uintptr_t)&marker;
	s[2] = k_cycle_get_32() ^ 0x5f3759df;
	s[3] = k_uptime_get_32() ^ 0xa5a5a5a5;
	printk("proto-entropy: WARNING insecure PRNG entropy source active\n");
	return 0;
}

static DEVICE_API(entropy, proto_entropy_api) = {
	.get_entropy = proto_entropy_get,
};

DEVICE_DT_INST_DEFINE(0, proto_entropy_init, NULL, NULL, NULL, PRE_KERNEL_1,
		      CONFIG_KERNEL_INIT_PRIORITY_DEVICE, &proto_entropy_api);
```
